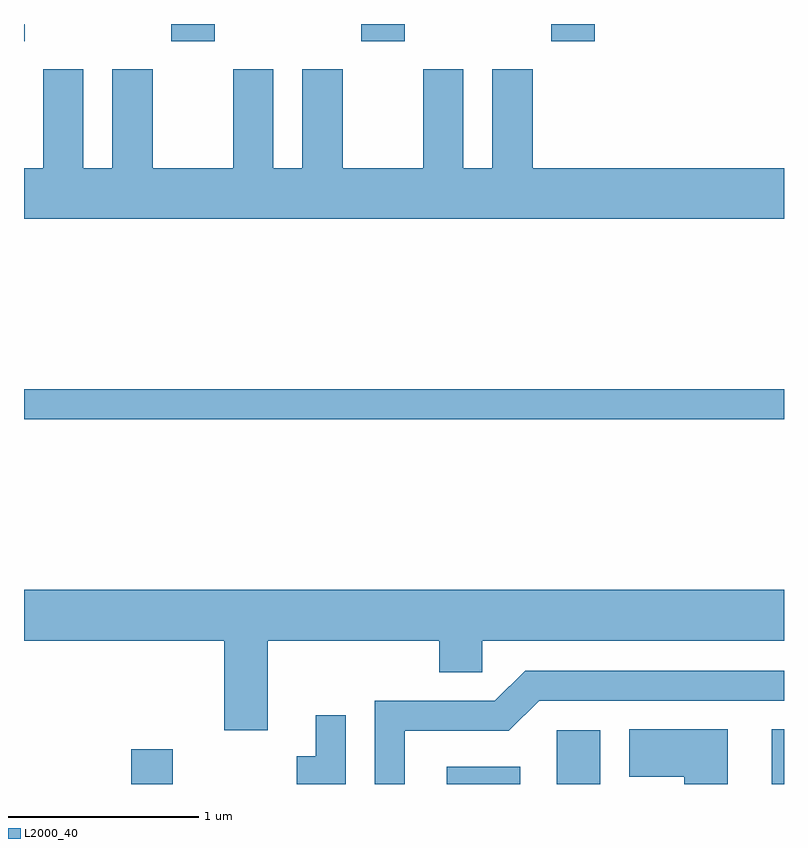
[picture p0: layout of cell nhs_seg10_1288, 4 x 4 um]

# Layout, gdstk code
import gdstk
lib = gdstk.Library(unit=1e-6, precision=1e-09)
def R(c, l, rs):  # rectangles x0, y0, x1, y1
    for r in rs: c.add(gdstk.rectangle(r[:2], r[2:], *l))
def A(c, l, x, y, w, h, nx, ny, dx, dy):  # array of equal rectangles
    R(c, l, [(x+i*dx, y+j*dy, x+i*dx+w, y+j*dy+h) for i in range(nx) for j in range(ny)])
def P(c, l, *ps):  # polygons
    for p in ps: c.add(gdstk.Polygon(p, *l))
L2000_40 = (2000, 40)

nhs_seg10_1288 = lib.new_cell('nhs_seg10_1288')
A(nhs_seg10_1288, L2000_40, 224.386, 2090.431, 0.228, 0.091, 3, 1, 1, 0)
R(nhs_seg10_1288, L2000_40, [(224.176,2086.522,224.394,2086.704), (225.836,2086.522,226.224,2086.614), (226.416,2086.522,226.644,2086.804), (227.546,2086.522,227.611,2086.809), (223.611,2088.441,227.611,2088.599), (223.611,2090.431,223.614,2090.522)])
P(nhs_seg10_1288, L2000_40, [(227.611,2089.764),(226.289,2089.764),(226.289,2090.284),(226.076,2090.284),(226.076,2089.764),(225.924,2089.764),(225.924,2090.284),(225.711,2090.284),(225.711,2089.764),(225.289,2089.764),(225.289,2090.284),(225.076,2090.284),(225.076,2089.764),(224.924,2089.764),(224.924,2090.284),(224.711,2090.284),(224.711,2089.764),(224.289,2089.764),(224.289,2090.284),(224.076,2090.284),(224.076,2089.764),(223.924,2089.764),(223.924,2090.284),(223.711,2090.284),(223.711,2089.764),(223.611,2089.764),(223.611,2089.496),(227.611,2089.496)],
  [(224.894,2087.276),(225.796,2087.276),(225.796,2087.111),(226.024,2087.111),(226.024,2087.276),(227.611,2087.276),(227.611,2087.544),(223.611,2087.544),(223.611,2087.276),(224.666,2087.276),(224.666,2086.806),(224.894,2086.806)],
  [(225.614,2086.801),(226.162,2086.801),(226.322,2086.961),(227.611,2086.961),(227.611,2087.119),(226.249,2087.119),(226.089,2086.959),(225.456,2086.959),(225.456,2086.522),(225.614,2086.522)],
  [(225.304,2086.883),(225.146,2086.883),(225.146,2086.669),(225.046,2086.669),(225.046,2086.522),(225.304,2086.522)],
  [(227.314,2086.809),(226.796,2086.809),(226.796,2086.561),(227.086,2086.561),(227.086,2086.522),(227.314,2086.522)])

lib.write_gds('nhs_seg10_1288.gds')
